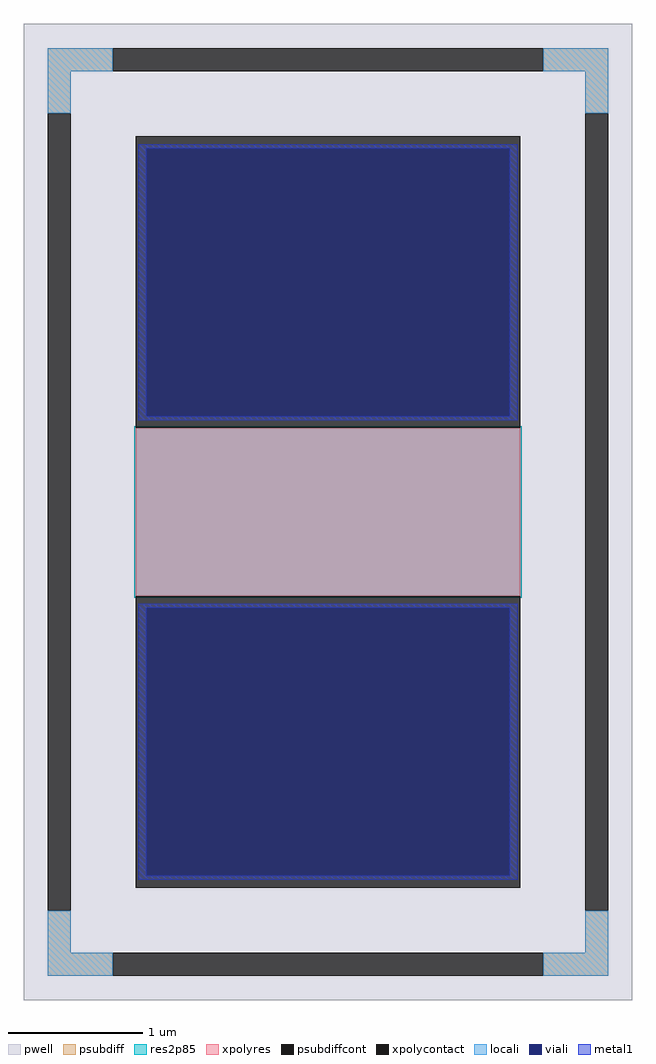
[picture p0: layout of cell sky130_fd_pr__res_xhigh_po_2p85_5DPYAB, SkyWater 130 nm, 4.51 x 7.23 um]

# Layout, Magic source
magic
tech sky130A
magscale 1 2
<< pwell >>
rect -451 -723 451 723
<< psubdiff >>
rect -415 653 -319 687
rect 319 653 415 687
rect -415 591 -381 653
rect 381 591 415 653
rect -415 -653 -381 -591
rect 381 -653 415 -591
rect -415 -687 -319 -653
rect 319 -687 415 -653
<< psubdiffcont >>
rect -319 653 319 687
rect -415 -591 -381 591
rect 381 -591 415 591
rect -319 -687 319 -653
<< xpolycontact >>
rect -285 125 285 557
rect -285 -557 285 -125
<< xpolyres >>
rect -285 -125 285 125
<< locali >>
rect -415 653 -319 687
rect 319 653 415 687
rect -415 591 -381 653
rect 381 591 415 653
rect -415 -653 -381 -591
rect 381 -653 415 -591
rect -415 -687 -319 -653
rect 319 -687 415 -653
<< viali >>
rect -269 142 269 539
rect -269 -539 269 -142
<< metal1 >>
rect -281 539 281 545
rect -281 142 -269 539
rect 269 142 281 539
rect -281 136 281 142
rect -281 -142 281 -136
rect -281 -539 -269 -142
rect 269 -539 281 -142
rect -281 -545 281 -539
<< res2p85 >>
rect -287 -127 287 127
<< properties >>
string FIXED_BBOX -398 -670 398 670
string gencell sky130_fd_pr__res_xhigh_po_2p85
string library sky130
string parameters w 2.850 l 1.25 m 1 nx 1 wmin 2.850 lmin 0.50 rho 2000 val 1.009k dummy 0 dw 0.0 term 188.2 sterm 0.0 caplen 0 wmax 2.850 guard 1 glc 1 grc 1 gtc 1 gbc 1 compatible {sky130_fd_pr__res_xhigh_po_0p35  sky130_fd_pr__res_xhigh_po_0p69 sky130_fd_pr__res_xhigh_po_1p41  sky130_fd_pr__res_xhigh_po_2p85 sky130_fd_pr__res_xhigh_po_5p73} full_metal 1 n_guard 0 hv_guard 0 vias 1 viagb 0 viagt 0 viagl 0 viagr 0
<< end >>
